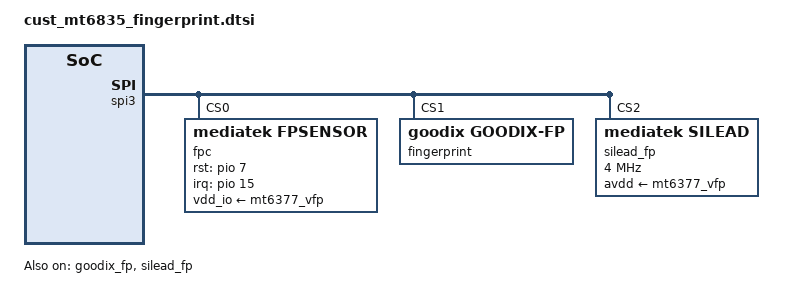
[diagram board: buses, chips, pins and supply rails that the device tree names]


&spi3 {
	fpc@0 {
	compatible ="mediatek,fpsensor";
	reg = <0>;
        fpc,rst_gpio = <&pio 7 0x0>;
        fpc,irq_gpio = <&pio 15 0>;
        vdd_io-supply = <&mt6377_vfp>;
		status = "okay";
	};
	fingerprint@1 {
		compatible = "goodix,goodix-fp";
		reg = <1>;
		status = "okay";
	};
	silead_fp@2 {
             compatible = "mediatek,silead";
             reg = <2>;
             spi-id = <3>;
             spi-irq = <160>;
             spi-reg = <11010000>;
             spi-max-frequency = <4000000>;
			 avdd-supply = <&mt6377_vfp>;
             status = "okay";
        };
};

&goodix_fp {
    vdd-supply = <&mt6377_vfp>;
    status = "okay";
};

&silead_fp {
    pinctrl-names = "default", "rst-low", "rst-high",
                    "irq-init", "spi-default", "irq-low";
    pinctrl-0 = <&silfp_default>;
    pinctrl-1 = <&silfp_rst_low>;
    pinctrl-2 = <&silfp_rst_high>;
    pinctrl-3 = <&silfp_irq>;
    pinctrl-4 = <&fingerprint_pins_default>;
    pinctrl-5 = <&silfp_irq_low>;
    status = "okay";
};

&pio {
    silfp_default: silfpdefault {
    };

    silfp_rst_high: state_reset_high {
        pins_cmd_dat {
        pinmux = <PINMUX_GPIO7__FUNC_GPIO7>;
        slew-rate = <1>;
        output-high;
        };
    };

    silfp_rst_low: state_reset_low {
        pins_cmd_dat {
            pinmux = <PINMUX_GPIO7__FUNC_GPIO7>;
            slew-rate = <1>;
            output-low;
        };
    };

    silfp_irq: fp_eint@2 {
        pins_cmd_dat {
            pinmux = <PINMUX_GPIO15__FUNC_GPIO15>;
            slew-rate = <0>;
            bias-pull-down = <00>;
        };
    };

    silfp_irq_low: state_irq_low {
        pins_cmd_dat {
            pinmux = <PINMUX_GPIO15__FUNC_GPIO15>;
            slew-rate = <1>;
            output-low;
        };
    };
};

&pio {
	fingerprint_pins_default: fp_default {
		pins_cmd_dat {	  
			pinmux = <PINMUX_GPIO69__FUNC_SPI3_CSB>;
			slew-rate = <1>;
			bias-pull-up;
		};

		pins_cmd2_dat {
			pinmux = <PINMUX_GPIO68__FUNC_SPI3_CLK>;
			slew-rate = <1>;
			drive-strength = <2>;
			bias-pull-down;
		};

		pins_cmd3_dat {
			pinmux = <PINMUX_GPIO71__FUNC_SPI3_MI>;
			slew-rate = <0>;
			bias-pull-down;
		};

		pins_cmd4_dat {
			pinmux = <PINMUX_GPIO70__FUNC_SPI3_MO>;
			slew-rate = <1>;
			bias-pull-down;
		};
    };
};

/*
&spi3 {
	#address-cells = <1>;
	#size-cells = <0>;
	status = "okay";
	fingerprint@0 {
		compatible = "goodix,goodix-fp";
		reg = <0>;
                fpvdd-suppy = <&pio 89 0x00>;
                spi-max-frequency = <8000000>;
		status = "okay";
	};

};
&goodix_fp {
	gf,gpio_irq = <&pio 15 0>;
	pinctrl-names = "default","reset_high","reset_low","spi_mode","vdd_high","vdd_low";
	pinctrl-0 = <&fingerprint_default>;
	pinctrl-1 = <&fingerprint_reset_high>;
	pinctrl-2 = <&fingerprint_reset_low>;
	pinctrl-3 = <&fingerprint_spi_mode>;
	pinctrl-4 = <&fingerprint_vdd_high>;
	pinctrl-5 = <&fingerprint_vdd_low>;
	status = "okay";
};

&pio {
	fingerprint_default: state_default {
		pins_cmd_dat {
			pinmux = <PINMUX_GPIO15__FUNC_GPIO15>;
			slew-rate = <0>;
			bias-disable;
		};
	};
	fingerprint_reset_high: state_reset_high {
		pins_cmd_dat {
			pinmux = <PINMUX_GPIO7__FUNC_GPIO7>;
			slew-rate = <1>;
			output-high;
		};
	};
	fingerprint_reset_low: state_reset_low {
		pins_cmd_dat {
			pinmux = <PINMUX_GPIO7__FUNC_GPIO7>;
			slew-rate = <1>;
			output-low;
		};
	};
	fingerprint_spi_mode:spi_mode{
		pins_cmd_dat {
			pinmux = <PINMUX_GPIO68__FUNC_SPI3_CLK>,
				<PINMUX_GPIO69__FUNC_SPI3_CSB>,
				<PINMUX_GPIO70__FUNC_SPI3_MO>,
				<PINMUX_GPIO71__FUNC_SPI3_MI>;
			drive-strength = <2>;//驱动能力
		};
	};
	fingerprint_vdd_high: state_vdd_high {
		pins_cmd_dat {
		pinmux = <PINMUX_GPIO89__FUNC_GPIO89>;
		slew-rate = <1>;
		output-high;
		};
	};
	fingerprint_vdd_low: state_vdd_low {
		pins_cmd_dat {
		pinmux = <PINMUX_GPIO89__FUNC_GPIO89>;
		slew-rate = <1>;
		output-low;
		};
	};
};
*/
/* FINGERPRINT end */

